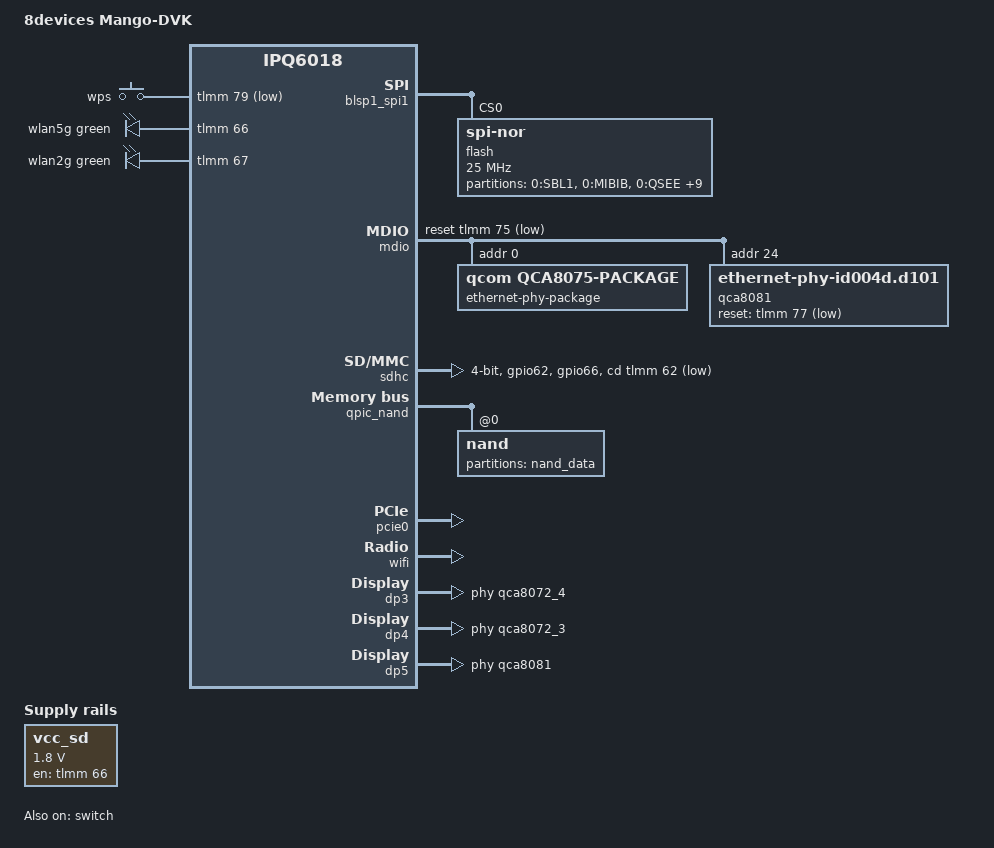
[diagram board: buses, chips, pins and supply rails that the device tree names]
// SPDX-License-Identifier: GPL-2.0-or-later OR MIT

/dts-v1/;

#include "ipq6018.dtsi"
#include "ipq6018-ess.dtsi"
#include "ipq6018-nss.dtsi"
#include "ipq6018-common.dtsi"
#include "ipq6018-cp-cpu.dtsi"

#include <dt-bindings/gpio/gpio.h>
#include <dt-bindings/input/input.h>
#include <dt-bindings/leds/common.h>

/ {
	model = "8devices Mango-DVK";
	compatible = "8devices,mango-dvk", "qcom,ipq6018";

	aliases {
		serial0 = &blsp1_uart3;
	};

	chosen {
		stdout-path = "serial0:115200n8";
	};

	keys {
		compatible = "gpio-keys";

		wps {
			label = "wps";
			gpios = <&tlmm 79 GPIO_ACTIVE_LOW>;
			linux,code = <KEY_WPS_BUTTON>;
		};
	};

	leds {
		compatible = "gpio-leds";

		wlan5g {
			color = <LED_COLOR_ID_GREEN>;
			function = LED_FUNCTION_WLAN;
			function-enumerator = <0>;
			gpios = <&tlmm 66 GPIO_ACTIVE_HIGH>;
			linux,default-trigger = "phy0radio";
		};

		wlan2g {
			color = <LED_COLOR_ID_GREEN>;
			function = LED_FUNCTION_WLAN;
			function-enumerator = <1>;
			gpios = <&tlmm 67 GPIO_ACTIVE_HIGH>;
			linux,default-trigger = "phy1radio";
		};
	};

	vcc_sd: regulator-vcc-sd {
		compatible = "regulator-fixed";
		regulator-name = "vcc_sd";
		regulator-min-microvolt = <1800000>;
		regulator-max-microvolt = <1800000>;
		gpios = <&tlmm 66 GPIO_ACTIVE_HIGH>;
		enable-active-high;
		regulator-always-on;
	};
};

&tlmm {
	sd_pins: sd-pins {
		data {
			pins = "gpio62";
			function = "sd_card";
			drive-strength = <8>;
			bias-pull-up;
		};

		power {
			pins = "gpio66";
			function = "gpio";
			drive-strength = <8>;
			bias-pull-up;
		};
	};
};

&blsp1_spi1 {
	status = "okay";

	flash@0 {
		compatible = "jedec,spi-nor";
		spi-max-frequency = <25000000>;
		reg = <0>;

		partitions {
			compatible = "fixed-partitions";
			#address-cells = <1>;
			#size-cells = <1>;

			partition@0 {
				label = "0:SBL1";
				reg = <0x00000000 0x000c0000>;
			};

			partition@c0000 {
				label = "0:MIBIB";
				reg = <0x000c0000 0x00010000>;
			};

			partition@d0000 {
				label = "0:QSEE";
				reg = <0x000d0000 0x001a0000>;
			};

			partition@270000 {
				label = "0:DEVCFG";
				reg = <0x00270000 0x00010000>;
			};

			partition@280000 {
				label = "0:RPM";
				reg = <0x00280000 0x00020000>;
			};

			partition@2a0000 {
				label = "0:CDT";
				reg = <0x002a0000 0x00010000>;
			};

			partition@2b0000 {
				label = "0:APPSBLENV";
				reg = <0x002b0000 0x00010000>;
			};

			partition@2c0000 {
				label = "0:APPSBL";
				reg = <0x002c0000 0x000a0000>;
			};

			partition@360000 {
				label = "0:ART";
				reg = <0x00360000 0x00040000>;

				nvmem-layout {
					compatible = "fixed-layout";
					#address-cells = <1>;
					#size-cells = <1>;

					macaddr_eth0: macaddr@0 {
						reg = <0x00 0x06>;
					};

					macaddr_eth1: macaddr@6 {
						reg = <0x06 0x06>;
					};

					macaddr_eth2: macaddr@c {
						reg = <0x0c 0x06>;
					};
				};
			};

			partition@3a0000 {
				label = "config";
				reg = <0x003a0000 0x00040000>;
			};

			partition@3e0000 {
				label = "data";
				reg = <0x003e0000 0x00100000>;
			};

			partition@4e0000 {
				label = "firmware";
				compatible = "denx,fit";
				reg = <0x004e0000 0x01b20000>;
			};
		};
	};
};

&mdio {
	status = "okay";

	pinctrl-0 = <&mdio_pins>;
	pinctrl-names = "default";
	reset-gpios = <&tlmm 75 GPIO_ACTIVE_LOW>;

	ethernet-phy-package@0 {
		compatible = "qcom,qca8075-package";
		#address-cells = <1>;
		#size-cells = <0>;
		reg = <0>;

		qca8072_3: ethernet-phy@3 {
			compatible = "ethernet-phy-ieee802.3-c22";
			reg = <3>;
		};

		qca8072_4: ethernet-phy@4 {
			compatible = "ethernet-phy-ieee802.3-c22";
			reg = <4>;
		};
	};

	qca8081: ethernet-phy@24 {
		compatible = "ethernet-phy-id004d.d101";
		reg = <24>;
		reset-deassert-us = <10000>;
		reset-gpios = <&tlmm 77 GPIO_ACTIVE_LOW>;
	};
};

&sdhc {
	status = "okay";

	pinctrl-0 = <&sd_pins>;
	pinctrl-names = "default";

	cd-gpios = <&tlmm 62 GPIO_ACTIVE_LOW>;
	vqmmc-supply = <&vcc_sd>;
	bus-width = <4>;
};

&switch {
	status = "okay";

	switch_lan_bmp = <(ESS_PORT3 | ESS_PORT4)>;
	switch_wan_bmp = <ESS_PORT5>;
	switch_mac_mode = <MAC_MODE_PSGMII>;
	switch_mac_mode1 = <MAC_MODE_SGMII_PLUS>;
	port3_pcs_channel = <4>;

	qcom,port_phyinfo {
		port@3 {
			port_id = <3>;
			phy_address = <4>;
		};

		port@4 {
			port_id = <4>;
			phy_address = <3>;
		};

		port@5 {
			port_id = <5>;
			phy_address = <24>;
			port_mac_sel = "QGMAC_PORT";
		};
	};
};

&qpic_nand {
	status = "okay";

	partitions {
		status = "disabled";
	};

	nand@0 {
		reg = <0>;

		nand-ecc-strength = <4>;
		nand-ecc-step-size = <512>;
		nand-bus-width = <8>;

		partitions {
			compatible = "fixed-partitions";
			#address-cells = <1>;
			#size-cells = <1>;

			partition@0 {
				label = "nand_data";
				reg = <0x00000000 0x10000000>;
			};
		};
	};
};

&pcie0 {
	status = "okay";
	perst-gpios = <&tlmm 60 GPIO_ACTIVE_LOW>;
};

&wifi {
	status = "okay";
	qcom,ath11k-fw-memory-mode = <1>;
	qcom,ath11k-calibration-variant = "8devices-Mango";
};

&dp3 {
	status = "okay";
	phy-handle = <&qca8072_4>;
	label = "lan2";
	nvmem-cells = <&macaddr_eth1>;
	nvmem-cell-names = "mac-address";
};

&dp4 {
	status = "okay";
	phy-handle = <&qca8072_3>;
	label = "lan1";
	nvmem-cells = <&macaddr_eth0>;
	nvmem-cell-names = "mac-address";
};

&dp5 {
	status = "okay";
	phy-handle = <&qca8081>;
	label = "wan";
	nvmem-cells = <&macaddr_eth2>;
	nvmem-cell-names = "mac-address";
};

&edma {
	status = "okay";
};
